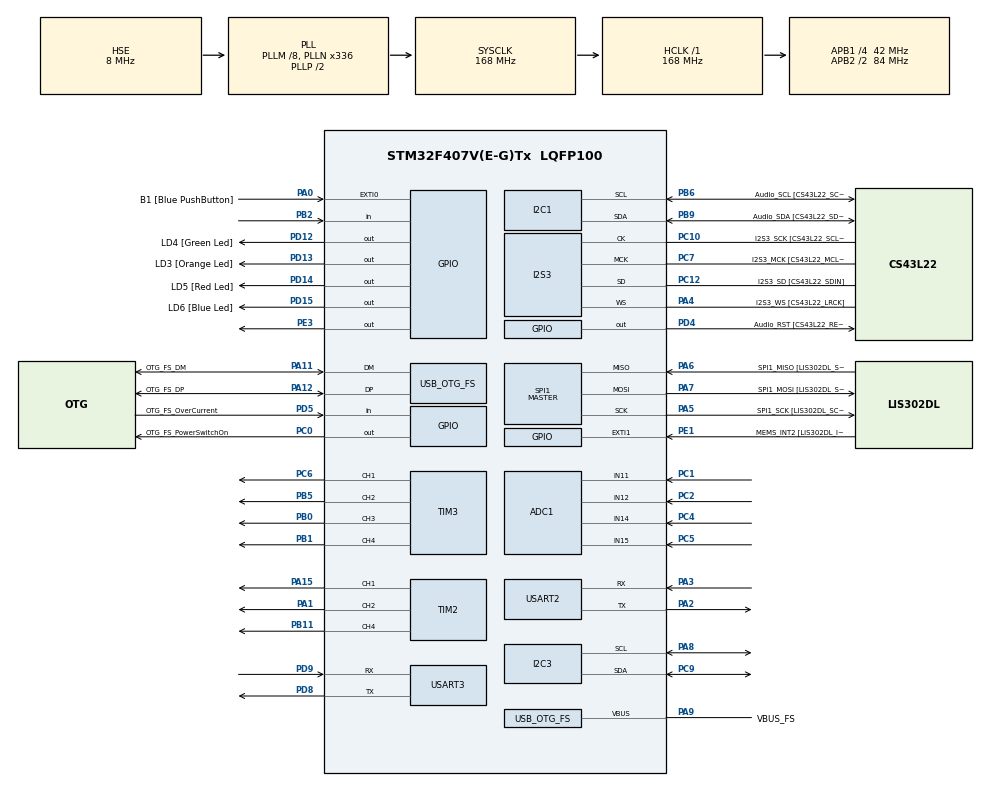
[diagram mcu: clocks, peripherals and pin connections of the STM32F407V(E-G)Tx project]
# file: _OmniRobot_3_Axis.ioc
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ADC1.Channel-1\#ChannelRegularConversion=ADC_CHANNEL_11
ADC1.NbrOfConversionFlag=1
ADC1.Rank-1\#ChannelRegularConversion=1
ADC1.SamplingTime-1\#ChannelRegularConversion=ADC_SAMPLETIME_3CYCLES
ADC1.master=1
Dma.ADC1.4.Direction=DMA_PERIPH_TO_MEMORY
Dma.ADC1.4.FIFOMode=DMA_FIFOMODE_DISABLE
Dma.ADC1.4.Instance=DMA2_Stream0
Dma.ADC1.4.MemDataAlignment=DMA_MDATAALIGN_HALFWORD
Dma.ADC1.4.MemInc=DMA_MINC_ENABLE
Dma.ADC1.4.Mode=DMA_NORMAL
Dma.ADC1.4.PeriphDataAlignment=DMA_PDATAALIGN_HALFWORD
Dma.ADC1.4.PeriphInc=DMA_PINC_DISABLE
Dma.ADC1.4.Priority=DMA_PRIORITY_LOW
Dma.Request0=USART2_RX
Dma.Request1=USART2_TX
Dma.Request2=USART3_RX
Dma.Request3=USART3_TX
Dma.Request4=ADC1
Dma.USART2_RX.0.Direction=DMA_PERIPH_TO_MEMORY
Dma.USART2_RX.0.FIFOMode=DMA_FIFOMODE_DISABLE
Dma.USART2_RX.0.Instance=DMA1_Stream5
Dma.USART2_RX.0.MemDataAlignment=DMA_MDATAALIGN_BYTE
Dma.USART2_RX.0.MemInc=DMA_MINC_ENABLE
Dma.USART2_RX.0.Mode=DMA_NORMAL
Dma.USART2_RX.0.PeriphDataAlignment=DMA_PDATAALIGN_BYTE
Dma.USART2_RX.0.PeriphInc=DMA_PINC_DISABLE
Dma.USART2_RX.0.Priority=DMA_PRIORITY_LOW
Dma.USART2_TX.1.Direction=DMA_MEMORY_TO_PERIPH
Dma.USART2_TX.1.FIFOMode=DMA_FIFOMODE_DISABLE
Dma.USART2_TX.1.Instance=DMA1_Stream6
Dma.USART2_TX.1.MemDataAlignment=DMA_MDATAALIGN_BYTE
Dma.USART2_TX.1.MemInc=DMA_MINC_ENABLE
Dma.USART2_TX.1.Mode=DMA_NORMAL
Dma.USART2_TX.1.PeriphDataAlignment=DMA_PDATAALIGN_BYTE
Dma.USART2_TX.1.PeriphInc=DMA_PINC_DISABLE
Dma.USART2_TX.1.Priority=DMA_PRIORITY_LOW
Dma.USART3_RX.2.Direction=DMA_PERIPH_TO_MEMORY
Dma.USART3_RX.2.FIFOMode=DMA_FIFOMODE_DISABLE
Dma.USART3_RX.2.Instance=DMA1_Stream1
Dma.USART3_RX.2.MemDataAlignment=DMA_MDATAALIGN_BYTE
Dma.USART3_RX.2.MemInc=DMA_MINC_ENABLE
Dma.USART3_RX.2.Mode=DMA_NORMAL
Dma.USART3_RX.2.PeriphDataAlignment=DMA_PDATAALIGN_BYTE
Dma.USART3_RX.2.PeriphInc=DMA_PINC_DISABLE
Dma.USART3_RX.2.Priority=DMA_PRIORITY_LOW
Dma.USART3_TX.3.Direction=DMA_MEMORY_TO_PERIPH
Dma.USART3_TX.3.FIFOMode=DMA_FIFOMODE_DISABLE
Dma.USART3_TX.3.Instance=DMA1_Stream3
Dma.USART3_TX.3.MemDataAlignment=DMA_MDATAALIGN_BYTE
Dma.USART3_TX.3.MemInc=DMA_MINC_ENABLE
Dma.USART3_TX.3.Mode=DMA_NORMAL
Dma.USART3_TX.3.PeriphDataAlignment=DMA_PDATAALIGN_BYTE
Dma.USART3_TX.3.PeriphInc=DMA_PINC_DISABLE
Dma.USART3_TX.3.Priority=DMA_PRIORITY_LOW
I2S3.AudioFreq-Half_Duplex_Master=I2S_AUDIOFREQ_96K
I2S3.ErrorAudioFreq=-2.34 %
I2S3.ErrorAudioFreq-Half_Duplex_Master=0.8 %
I2S3.FullDuplexMode=I2S_FULLDUPLEXMODE_DISABLE
I2S3.Instance=SPI$Index
I2S3.RealAudioFreq=93.75 KHz
I2S3.RealAudioFreq-Half_Duplex_Master=96.774 KHz
I2S3.VirtualMode=I2S_MODE_MASTER
Mcu.Family=STM32F4
Mcu.Name=STM32F407V(E-G)Tx
Mcu.Package=LQFP100
NVIC.DMA1_Stream1_IRQn=true\:0\:0\:false\:false\:true\:false\:true
NVIC.DMA1_Stream3_IRQn=true\:0\:0\:false\:false\:true\:false\:true
NVIC.DMA1_Stream5_IRQn=true\:0\:0\:false\:false\:true\:false\:true
NVIC.DMA1_Stream6_IRQn=true\:0\:0\:false\:false\:true\:false\:true
NVIC.DMA2_Stream0_IRQn=true\:0\:0\:false\:false\:true\:false\:true
NVIC.OTG_FS_IRQn=true\:0\:0\:false\:false\:true\:true\:true
NVIC.PriorityGroup=NVIC_PRIORITYGROUP_0
PA0-WKUP.GPIO_Label=B1 [Blue PushButton]
PA0-WKUP.GPIO_ModeDefaultEXTI=GPIO_MODE_EVT_RISING
PA0-WKUP.GPIO_PuPd=GPIO_NOPULL
PA0-WKUP.Signal=GPXTI0
PA1.Signal=S_TIM2_CH2
PA10.GPIO_Label=OTG_FS_ID
PA10.GPIO_Mode=GPIO_MODE_AF_PP
PA10.GPIO_PuPd=GPIO_NOPULL
PA10.GPIO_Speed=GPIO_SPEED_FREQ_LOW
PA10.Signal=USB_OTG_FS_ID
PA11.GPIO_Label=OTG_FS_DM
PA11.GPIO_Mode=GPIO_MODE_AF_PP
PA11.GPIO_PuPd=GPIO_NOPULL
PA11.GPIO_Speed=GPIO_SPEED_FREQ_LOW
PA11.Mode=Host_Only
PA11.Signal=USB_OTG_FS_DM
PA12.GPIO_Label=OTG_FS_DP
PA12.GPIO_Mode=GPIO_MODE_AF_PP
PA12.GPIO_PuPd=GPIO_NOPULL
PA12.GPIO_Speed=GPIO_SPEED_FREQ_LOW
PA12.Mode=Host_Only
PA12.Signal=USB_OTG_FS_DP
PA13.GPIO_Label=SWDIO
PA13.Mode=Serial_Wire
PA13.Signal=SYS_JTMS-SWDIO
PA14.GPIO_Label=SWCLK
PA14.Mode=Serial_Wire
PA14.Signal=SYS_JTCK-SWCLK
PA15.Signal=S_TIM2_CH1_ETR
PA2.Mode=Asynchronous
PA2.Signal=USART2_TX
PA3.Mode=Asynchronous
PA3.Signal=USART2_RX
PA4.GPIO_Label=I2S3_WS [CS43L22_LRCK]
PA4.GPIO_Mode=GPIO_MODE_AF_PP
PA4.GPIO_PuPd=GPIO_NOPULL
PA4.GPIO_Speed=GPIO_SPEED_FREQ_LOW
PA4.Mode=Half_Duplex_Master
PA4.Signal=I2S3_WS
PA5.GPIO_Label=SPI1_SCK [LIS302DL_SCL/SPC]
PA5.GPIO_Mode=GPIO_MODE_AF_PP
PA5.GPIO_PuPd=GPIO_NOPULL
PA5.GPIO_Speed=GPIO_SPEED_FREQ_LOW
PA5.Mode=Full_Duplex_Master
PA5.Signal=SPI1_SCK
PA6.GPIO_Label=SPI1_MISO [LIS302DL_SDO]
PA6.GPIO_Mode=GPIO_MODE_AF_PP
PA6.GPIO_PuPd=GPIO_NOPULL
PA6.GPIO_Speed=GPIO_SPEED_FREQ_LOW
PA6.Mode=Full_Duplex_Master
PA6.Signal=SPI1_MISO
PA7.GPIO_Label=SPI1_MOSI [LIS302DL_SDA/SDI/SDO]
PA7.GPIO_Mode=GPIO_MODE_AF_PP
PA7.GPIO_PuPd=GPIO_NOPULL
PA7.GPIO_Speed=GPIO_SPEED_FREQ_LOW
PA7.Mode=Full_Duplex_Master
PA7.Signal=SPI1_MOSI
PA8.Mode=I2C
PA8.Signal=I2C3_SCL
PA9.GPIO_Label=VBUS_FS
PA9.GPIO_Mode=GPIO_MODE_INPUT
PA9.GPIO_PuPd=GPIO_NOPULL
PA9.Mode=Activate_VBUS
PA9.Signal=USB_OTG_FS_VBUS
PB0.Signal=S_TIM3_CH3
PB1.Signal=S_TIM3_CH4
PB10.GPIO_Label=CLK_IN [MP45DT02_CLK]
PB10.GPIO_Mode=GPIO_MODE_AF_PP
PB10.GPIO_PuPd=GPIO_NOPULL
PB10.GPIO_Speed=GPIO_SPEED_FREQ_LOW
PB10.Signal=I2S2_CK
PB11.Signal=S_TIM2_CH4
PB2.Signal=GPIO_Input
PB3.GPIO_Label=SWO
PB3.Signal=SYS_JTDO-SWO
PB5.Signal=S_TIM3_CH2
PB6.GPIO_Label=Audio_SCL [CS43L22_SCL]
PB6.GPIO_Mode=GPIO_MODE_AF_OD
PB6.GPIO_PuPd=GPIO_NOPULL
PB6.GPIO_Speed=GPIO_SPEED_FREQ_LOW
PB6.Mode=I2C
PB6.Signal=I2C1_SCL
PB9.GPIO_Label=Audio_SDA [CS43L22_SDA]
PB9.GPIO_Mode=GPIO_MODE_AF_OD
PB9.GPIO_PuPd=GPIO_NOPULL
PB9.GPIO_Speed=GPIO_SPEED_FREQ_LOW
PB9.Mode=I2C
PB9.Signal=I2C1_SDA
PC0.GPIO_Label=OTG_FS_PowerSwitchOn
PC0.GPIO_PuPd=GPIO_NOPULL
PC0.GPIO_Speed=GPIO_SPEED_FREQ_LOW
PC0.PinState=GPIO_PIN_SET
PC0.Signal=GPIO_Output
PC1.Signal=ADCx_IN11
PC10.GPIO_Label=I2S3_SCK [CS43L22_SCLK]
PC10.GPIO_Mode=GPIO_MODE_AF_PP
PC10.GPIO_PuPd=GPIO_NOPULL
PC10.GPIO_Speed=GPIO_SPEED_FREQ_LOW
PC10.Mode=Half_Duplex_Master
PC10.Signal=I2S3_CK
PC12.GPIO_Label=I2S3_SD [CS43L22_SDIN]
PC12.GPIO_Mode=GPIO_MODE_AF_PP
PC12.GPIO_PuPd=GPIO_NOPULL
PC12.GPIO_Speed=GPIO_SPEED_FREQ_LOW
PC12.Mode=Half_Duplex_Master
PC12.Signal=I2S3_SD
PC14-OSC32_IN.GPIO_Label=PC14-OSC32_IN
PC14-OSC32_IN.Mode=LSE-External-Oscillator
PC14-OSC32_IN.Signal=RCC_OSC32_IN
PC15-OSC32_OUT.GPIO_Label=PC15-OSC32_OUT
PC15-OSC32_OUT.Mode=LSE-External-Oscillator
PC15-OSC32_OUT.Signal=RCC_OSC32_OUT
PC2.Signal=ADCx_IN12
PC3.GPIO_Label=PDM_OUT [MP45DT02_DOUT]
PC3.GPIO_Mode=GPIO_MODE_AF_PP
PC3.GPIO_PuPd=GPIO_NOPULL
PC3.GPIO_Speed=GPIO_SPEED_FREQ_LOW
PC3.Signal=I2S2_SD
PC4.Signal=ADCx_IN14
PC5.Signal=ADCx_IN15
PC6.Signal=S_TIM3_CH1
PC7.GPIO_Label=I2S3_MCK [CS43L22_MCLK]
PC7.GPIO_Mode=GPIO_MODE_AF_PP
PC7.GPIO_PuPd=GPIO_NOPULL
PC7.GPIO_Speed=GPIO_SPEED_FREQ_LOW
PC7.Mode=Master_Clock_Activated
PC7.Signal=I2S3_MCK
PC9.Mode=I2C
PC9.Signal=I2C3_SDA
PD12.GPIO_Label=LD4 [Green Led]
PD12.GPIO_PuPd=GPIO_NOPULL
PD12.GPIO_Speed=GPIO_SPEED_FREQ_LOW
PD12.Signal=GPIO_Output
PD13.GPIO_Label=LD3 [Orange Led]
PD13.GPIO_PuPd=GPIO_NOPULL
PD13.GPIO_Speed=GPIO_SPEED_FREQ_LOW
PD13.Signal=GPIO_Output
PD14.GPIO_Label=LD5 [Red Led]
PD14.GPIO_PuPd=GPIO_NOPULL
PD14.GPIO_Speed=GPIO_SPEED_FREQ_LOW
PD14.Signal=GPIO_Output
PD15.GPIO_Label=LD6 [Blue Led]
PD15.GPIO_PuPd=GPIO_NOPULL
PD15.GPIO_Speed=GPIO_SPEED_FREQ_LOW
PD15.Signal=GPIO_Output
PD4.GPIO_Label=Audio_RST [CS43L22_RESET]
PD4.GPIO_PuPd=GPIO_NOPULL
PD4.GPIO_Speed=GPIO_SPEED_FREQ_LOW
PD4.Signal=GPIO_Output
PD5.GPIO_Label=OTG_FS_OverCurrent
PD5.GPIO_Mode=GPIO_MODE_INPUT
PD5.GPIO_PuPd=GPIO_NOPULL
PD5.Signal=GPIO_Input
PD8.Mode=Asynchronous
PD8.Signal=USART3_TX
PD9.Mode=Asynchronous
PD9.Signal=USART3_RX
PE1.GPIO_Label=MEMS_INT2 [LIS302DL_INT2]
PE1.GPIO_ModeDefaultEXTI=GPIO_MODE_EVT_RISING
PE1.GPIO_PuPd=GPIO_NOPULL
PE1.Signal=GPXTI1
PE3.Signal=GPIO_Output
PH0-OSC_IN.GPIO_Label=PH0-OSC_IN
PH0-OSC_IN.Mode=HSE-External-Oscillator
PH0-OSC_IN.Signal=RCC_OSC_IN
PH1-OSC_OUT.GPIO_Label=PH1-OSC_OUT
PH1-OSC_OUT.Mode=HSE-External-Oscillator
PH1-OSC_OUT.Signal=RCC_OSC_OUT
ProjectManager.HeapSize=0x200
ProjectManager.StackSize=0x400
ProjectManager.TargetToolchain=MDK-ARM V5
RCC.48MHZClocksFreq_Value=48000000
RCC.AHBFreq_Value=168000000
RCC.APB1CLKDivider=RCC_HCLK_DIV4
RCC.APB1Freq_Value=42000000
RCC.APB1TimFreq_Value=84000000
RCC.APB2CLKDivider=RCC_HCLK_DIV2
RCC.APB2Freq_Value=84000000
RCC.APB2TimFreq_Value=168000000
RCC.CortexFreq_Value=168000000
RCC.HCLKFreq_Value=168000000
RCC.HSE_VALUE=8000000
RCC.HSI_VALUE=16000000
RCC.PLLM=8
RCC.PLLN=336
RCC.PLLQ=7
RCC.SYSCLKFreq_VALUE=168000000
RCC.SYSCLKSource=RCC_SYSCLKSOURCE_PLLCLK
RCC.VCOOutputFreq_Value=336000000
SH.ADCx_IN11.0=ADC1_IN11,IN11
SH.ADCx_IN12.0=ADC1_IN12,IN12
SH.ADCx_IN14.0=ADC1_IN14,IN14
SH.ADCx_IN15.0=ADC1_IN15,IN15
SH.S_TIM2_CH1_ETR.0=TIM2_CH1,PWM Generation1 CH1
SH.S_TIM2_CH2.0=TIM2_CH2,PWM Generation2 CH2
SH.S_TIM2_CH4.0=TIM2_CH4,PWM Generation4 CH4
SH.S_TIM3_CH1.0=TIM3_CH1,PWM Generation1 CH1
SH.S_TIM3_CH2.0=TIM3_CH2,PWM Generation2 CH2
SH.S_TIM3_CH3.0=TIM3_CH3,PWM Generation3 CH3
SH.S_TIM3_CH4.0=TIM3_CH4,PWM Generation4 CH4
SPI1.BaudRatePrescaler-Full_Duplex_Master=SPI_BAUDRATEPRESCALER_2
SPI1.CalculateBaudRate-Full_Duplex_Master=42.0 MBits/s
SPI1.Direction=SPI_DIRECTION_2LINES
SPI1.Mode=SPI_MODE_MASTER
SPI1.Mode-Full_Duplex_Master=SPI_MODE_MASTER
SPI1.VirtualType=VM_MASTER
TIM2.Channel-PWM\ Generation1\ CH1=TIM_CHANNEL_1
TIM2.Channel-PWM\ Generation2\ CH2=TIM_CHANNEL_2
TIM2.Channel-PWM\ Generation4\ CH4=TIM_CHANNEL_4
TIM3.Channel-PWM\ Generation1\ CH1=TIM_CHANNEL_1
TIM3.Channel-PWM\ Generation2\ CH2=TIM_CHANNEL_2
TIM3.Channel-PWM\ Generation3\ CH3=TIM_CHANNEL_3
TIM3.Channel-PWM\ Generation4\ CH4=TIM_CHANNEL_4
USART2.VirtualMode=VM_ASYNC
USART3.VirtualMode=VM_ASYNC
USB_HOST.BSP.number=1
USB_HOST.USBH_HandleTypeDef-CDC_FS=hUsbHostFS
USB_HOST.VirtualModeFS=Cdc
USB_HOST0.BSP.STBoard=false
USB_HOST0.BSP.api=Unknown
USB_HOST0.BSP.i2caddr=0
USB_HOST0.BSP.i2creg=0
USB_HOST0.BSP.instance=PC0
USB_HOST0.BSP.ip=GPIO
USB_HOST0.BSP.mode=Output
USB_HOST0.BSP.name=Drive_VBUS_FS
USB_HOST0.BSP.solution=PC0
USB_OTG_FS.VirtualMode=Host_Only
USB_OTG_FS.phy_itface=HCD_PHY_EMBEDDED
VP_TIM2_VS_ClockSourceINT.Mode=Internal
VP_TIM3_VS_ClockSourceINT.Mode=Internal
VP_USB_HOST_VS_USB_HOST_CDC_FS.Mode=CDC_FS
board=STM32F407G-DISC1

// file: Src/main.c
/* USER CODE BEGIN Header */
/**
  ******************************************************************************
  * @file           : main.c
  * @brief          : Main program body
  ******************************************************************************
  * @attention
  *
  * <h2><center>&copy; Copyright (c) 2021 STMicroelectronics.
  * All rights reserved.</center></h2>
  *
  * This software component is licensed by ST under Ultimate Liberty license
  * SLA0044, the "License"; You may not use this file except in compliance with
  * the License. You may obtain a copy of the License at:
  *                             www.st.com/SLA0044
  *
  ******************************************************************************
  */
/* USER CODE END Header */

#include "main.h"
#include "adc.h"
#include "dma.h"
#include "i2c.h"
#include "i2s.h"
#include "spi.h"
#include "tim.h"
#include "usart.h"
#include "usb_host.h"
#include "gpio.h"

/* USER CODE BEGIN PV */

//First Call Variables
_Bool firstCall_singleMotorRevolution = 0;

GPIO_FUNCTIONSTRUCT m1_Enable = {GPIOE, GPIO_PIN_8};
GPIO_FUNCTIONSTRUCT m1_Direction = {GPIOE, GPIO_PIN_7};

uint32_t sys_Last_Tick = 0;

uint32_t m1_Velocity = 0;
uint32_t m2_Velocity = 0;
uint32_t m3_Velocity = 0;

/* USER CODE END PV */

void SystemClock_Config(void);
void MX_USB_HOST_Process(void);
uint32_t setFreq(uint32_t Freq);
void singleMotor_RevRotation(uint8_t motor_Index, uint8_t Revolution);

int main(void)
{

  /* MCU Configuration--------------------------------------------------------*/

  /* Reset of all peripherals, Initializes the Flash interface and the Systick. */
  HAL_Init();

  /* Configure the system clock */
  SystemClock_Config();

  /* Initialize all configured peripherals */
  MX_GPIO_Init();
  MX_DMA_Init();
  MX_ADC1_Init();
  MX_I2C1_Init();
  MX_I2C3_Init();
  MX_I2S3_Init();
  MX_SPI1_Init();
  MX_TIM2_Init();
  MX_TIM3_Init();
  MX_USART2_UART_Init();
  MX_USART3_UART_Init();
  MX_USB_HOST_Init();
  /* USER CODE BEGIN 2 */
	HAL_TIM_PWM_Start(&htim2, TIM_CHANNEL_2);
  /* USER CODE END 2 */
	HAL_GPIO_WritePin(m1_Enable.Group, m1_Enable.Pin, GPIO_PIN_RESET);
	HAL_GPIO_WritePin(m1_Direction.Group, m1_Direction.Pin, GPIO_PIN_SET);

  /* Infinite loop */
  while (1)
  {
    MX_USB_HOST_Process();
		singleMotor_RevRotation(0, 2);

		HAL_Delay(1);
  }
}

void SystemClock_Config(void)
{
  RCC_OscInitTypeDef RCC_OscInitStruct = {0};
  RCC_ClkInitTypeDef RCC_ClkInitStruct = {0};
  RCC_PeriphCLKInitTypeDef PeriphClkInitStruct = {0};

  /** Configure the main internal regulator output voltage
  */
  __HAL_RCC_PWR_CLK_ENABLE();
  __HAL_PWR_VOLTAGESCALING_CONFIG(PWR_REGULATOR_VOLTAGE_SCALE1);
  /** Initializes the CPU, AHB and APB busses clocks
  */
  RCC_OscInitStruct.OscillatorType = RCC_OSCILLATORTYPE_HSE;
  RCC_OscInitStruct.HSEState = RCC_HSE_ON;
  RCC_OscInitStruct.PLL.PLLState = RCC_PLL_ON;
  RCC_OscInitStruct.PLL.PLLSource = RCC_PLLSOURCE_HSE;
  RCC_OscInitStruct.PLL.PLLM = 8;
  RCC_OscInitStruct.PLL.PLLN = 336;
  RCC_OscInitStruct.PLL.PLLP = RCC_PLLP_DIV2;
  RCC_OscInitStruct.PLL.PLLQ = 7;
  if (HAL_RCC_OscConfig(&RCC_OscInitStruct) != HAL_OK)
  {
    Error_Handler();
  }
  /** Initializes the CPU, AHB and APB busses clocks
  */
  RCC_ClkInitStruct.ClockType = RCC_CLOCKTYPE_HCLK|RCC_CLOCKTYPE_SYSCLK
                              |RCC_CLOCKTYPE_PCLK1|RCC_CLOCKTYPE_PCLK2;
  RCC_ClkInitStruct.SYSCLKSource = RCC_SYSCLKSOURCE_PLLCLK;
  RCC_ClkInitStruct.AHBCLKDivider = RCC_SYSCLK_DIV1;
  RCC_ClkInitStruct.APB1CLKDivider = RCC_HCLK_DIV4;
  RCC_ClkInitStruct.APB2CLKDivider = RCC_HCLK_DIV2;

  if (HAL_RCC_ClockConfig(&RCC_ClkInitStruct, FLASH_LATENCY_5) != HAL_OK)
  {
    Error_Handler();
  }
  PeriphClkInitStruct.PeriphClockSelection = RCC_PERIPHCLK_I2S;
  PeriphClkInitStruct.PLLI2S.PLLI2SN = 192;
  PeriphClkInitStruct.PLLI2S.PLLI2SR = 2;
  if (HAL_RCCEx_PeriphCLKConfig(&PeriphClkInitStruct) != HAL_OK)
  {
    Error_Handler();
  }
}

/* USER CODE BEGIN 4 */
uint32_t setFreq(uint32_t Freq)
{
	uint32_t arr_value = ((RCC_MAX_FREQUENCY/2)/(Freq * (TIM2->PSC + 1))) - 1;
	TIM2->ARR = arr_value;
	TIM2->CCR2 = arr_value * 0.5;
	return arr_value;
}
void singleMotor_RevRotation(uint8_t motor_Index, uint8_t Revolution)
{
	uint32_t sys_Tick = HAL_GetTick();
	if(firstCall_singleMotorRevolution)
	{
		m1_Velocity++;
		if(m1_Velocity >= 100)
		{
			m1_Velocity = 100;
			setFreq(0);
		}
		else
		{
			setFreq(m1_Velocity * 64);
		}
	}
	else
	{
		sys_Last_Tick = sys_Tick;
		firstCall_singleMotorRevolution = 1;
	}
}
/* USER CODE END 4 */

void Error_Handler(void)
{
}

/************************ (C) COPYRIGHT STMicroelectronics *****END OF FILE****/
